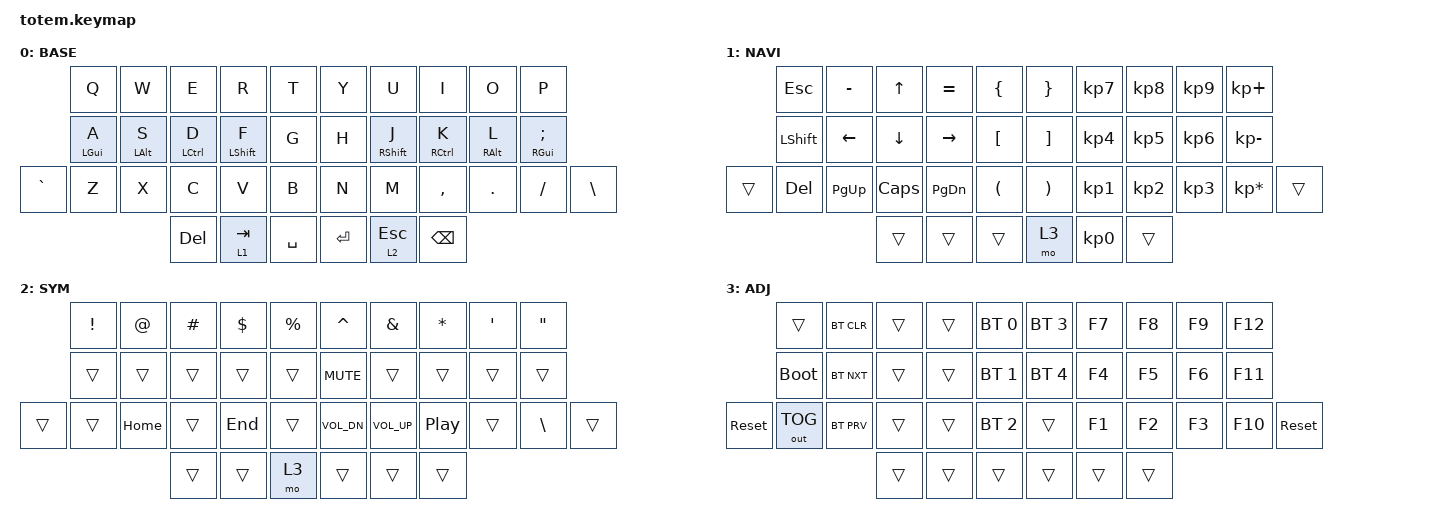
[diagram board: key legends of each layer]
//
//                                                        ▀▀▀▀▀     ▀▀▀▀▀          ▀▀█▀▀
//                                                        ▄▀▀▀▄  ▄  ▄▀▀▀▄  ▄  ▄▀▀▀▄  █  ▄▀▀▀▄
//                                                        █   █  █  █   █  █  █   █  █  █   █
//                                                         ▀▀▀   █   ▀▀▀   █   ▀▀▀   ▀   ▀▀▀
//                                                               █      ▄▄▄█▄▄▄    █   █  
//                                                               ▀      █  █  █     █▄█
//                                                             ▀▀▀▀▀    █  █  █      ▀
//                                                                      ▀  ▀  ▀
//
// ▄▄▄▄▄▄▄▄▄▄▄▄▄▄▄▄▄▄▄▄▄▄▄▄▄▄▄▄▄▄▄▄▄▄▄▄▄▄▄▄▄▄▄▄▄▄▄▄▄▄▄▄▄▄▄▄▄▄▄▄▄▄▄▄▄▄▄▄▄▄▄▄▄▄▄▄▄▄▄▄▄▄▄▄▄▄▄▄▄▄▄▄▄▄▄▄▄▄▄▄▄▄▄▄▄▄▄▄▄▄▄▄▄▄▄▄▄▄▄▄▄▄▄▄▄▄▄▄▄▄▄▄▄▄▄▄▄▄▄▄▄▄▄▄▄▄▄▄▄

#include <behaviors.dtsi>
#include <dt-bindings/zmk/bt.h>
#include <dt-bindings/zmk/keys.h>
#include <dt-bindings/zmk/outputs.h>

// Layer indices (used by `&lt <layer> <key>` and `&mo <layer>` below)
// - `&lt`: tap sends the key, hold activates the layer momentarily
// - `&mo`: momentary layer while held
#define BASE 0
#define NAV  1
#define SYM  2
#define ADJ  3
#define TVP1 4
#define TVP2 5

&mt {
    quick-tap-ms = <100>;
    global-quick-tap;
    flavor = "tap-preferred";
    tapping-term-ms = <170>;
};

/ {
    combos {
        compatible = "zmk,combos";

        combo_esc {
            timeout-ms = <50>;
            key-positions = <0 1>;
            bindings = <&kp ESC>;
        };

        hyperkey {
            bindings = <&kp LS(LA(LC(LEFT_GUI)))>;
            key-positions = <34 35>;
        };
    };

    macros {
        gif: gif {
            label = "giphy";
            compatible = "zmk,behavior-macro";
            #binding-cells = <0>;
            bindings =
                <&macro_press>,
                <&kp LSHFT>,
                <&macro_tap>,
                <&kp N2>,
                <&macro_release>,
                <&kp LSHFT>,
                <&macro_tap>,
                <&kp G &kp I &kp F>;
        };
    };

    keymap {
        compatible = "zmk,keymap";

        // ▄▄▄▄▄▄▄▄▄▄▄▄▄▄▄▄▄▄▄▄▄▄▄▄▄▄▄▄▄▄▄▄▄▄▄▄▄▄▄▄▄▄▄▄▄▄▄▄▄▄▄▄▄▄▄▄▄▄▄▄▄▄▄▄▄▄▄▄▄▄▄▄▄▄▄▄▄▄▄▄▄▄▄▄▄▄▄▄▄▄▄▄▄▄▄▄▄▄▄▄▄▄▄▄▄▄▄▄▄▄▄▄▄▄▄▄▄▄▄▄▄▄▄▄▄▄▄▄▄▄▄▄▄▄▄▄▄▄▄▄▄▄▄▄▄▄▄▄▄

        base_layer {
            // ┏━━━━━━━━━━━━━━━━━━━━━━━━━━━━━━━━━━━━━━━┓

            label = "BASE";

            // ┗━━━━━━━━━━━━━━━━━━━━━━━━━━━━━━━━━━━━━━━┛
            // Access:
            // - NAV: hold `TAB` (tap = `TAB`) via `&lt 1 TAB`
            // - SYM: hold `ESC` (tap = `ESC`) via `&lt 2 ESC`
            //             ┏━━━━━━━━━━━┳━━━━━━━━━━━┳━━━━━━━━━━━┳━━━━━━━━━━━┳━━━━━━━━━━━┓   ┏━━━━━━━━━━━┳━━━━━━━━━━━┳━━━━━━━━━━━┳━━━━━━━━━━━┳━━━━━━━━━━━┓
            //             ┃     Q     ┃     W     ┃     E     ┃     R     ┃     T     ┃   ┃     Y     ┃     U     ┃     I     ┃     O     ┃     P     ┃
            //             ┣━━━━━━━━━━━╋━━━━━━━━━━━╋━━━━━━━━━━━╋━━━━━━━━━━━╋━━━━━━━━━━━┫   ┣━━━━━━━━━━━╋━━━━━━━━━━━╋━━━━━━━━━━━╋━━━━━━━━━━━╋━━━━━━━━━━━┫
            //             ┃     A     ┃     S     ┃     D     ┃     F     ┃     G     ┃   ┃     H     ┃     J     ┃     K     ┃     L     ┃     ;     ┃
            // ┏━━━━━━━━━━━╋━━━━━━━━━━━╋━━━━━━━━━━━╋━━━━━━━━━━━╋━━━━━━━━━━━╋━━━━━━━━━━━┫   ┣━━━━━━━━━━━╋━━━━━━━━━━━╋━━━━━━━━━━━╋━━━━━━━━━━━╋━━━━━━━━━━━╋━━━━━━━━━━━┓
            // ┃     `     ┃     Z     ┃     X     ┃     C     ┃     V     ┃     B     ┃   ┃     N     ┃     M     ┃     ,     ┃     .     ┃     /     ┃     \     ┃
            // ┗━━━━━━━━━━━┻━━━━━━━━━━━┻━━━━━━━━━━━╋━━━━━━━━━━━╋━━━━━━━━━━━╋━━━━━━━━━━━┫   ┣━━━━━━━━━━━╋━━━━━━━━━━━╋━━━━━━━━━━━╋━━━━━━━━━━━┻━━━━━━━━━━━┻━━━━━━━━━━━┛
            //                                     ┃    DEL    ┃    TAB    ┃    SPC    ┃   ┃   ENTER   ┃    ESC    ┃   BSPC    ┃
            //                                     ┗━━━━━━━━━━━┻━━━━━━━━━━━┻━━━━━━━━━━━┛   ┗━━━━━━━━━━━┻━━━━━━━━━━━┻━━━━━━━━━━━┛

            bindings = <
           &kp Q       &kp W       &kp E        &kp R             &kp T        &kp Y    &kp U        &kp I        &kp O       &kp P
           &mt LGUI A  &mt LALT S  &mt LCTRL D  &mt LEFT_SHIFT F  &kp G        &kp H    &mt RSHFT J  &mt RCTRL K  &mt RALT L  &mt RGUI SEMICOLON
&kp GRAVE  &kp Z       &kp X       &kp C        &kp V             &kp B        &kp N    &kp M        &kp COMMA    &kp DOT     &kp FSLH            &kp BSLH
                                   &kp DEL      &lt 1 TAB         &kp SPACE    &kp RET  &lt 2 ESC    &kp BSPC
            >;
        };

        // ▄▄▄▄▄▄▄▄▄▄▄▄▄▄▄▄▄▄▄▄▄▄▄▄▄▄▄▄▄▄▄▄▄▄▄▄▄▄▄▄▄▄▄▄▄▄▄▄▄▄▄▄▄▄▄▄▄▄▄▄▄▄▄▄▄▄▄▄▄▄▄▄▄▄▄▄▄▄▄▄▄▄▄▄▄▄▄▄▄▄▄▄▄▄▄▄▄▄▄▄▄▄▄▄▄▄▄▄▄▄▄▄▄▄▄▄▄▄▄▄▄▄▄▄▄▄▄▄▄▄▄▄▄▄▄▄▄▄▄▄▄▄▄▄▄▄▄▄▄

        nav_layer {
            // ┏━━━━━━━━━━━━━━━━━━━━━━━━━━━━━━━━━━━━━━━┓

            label = "NAVI";

            // ┗━━━━━━━━━━━━━━━━━━━━━━━━━━━━━━━━━━━━━━━┛
            // Access: hold `TAB` on BASE (`&lt 1 TAB`)
            // ADJ: while holding NAV, hold the thumb key in the BASE `ENTER` position (`&mo 3`)
            //             ┏━━━━━━━━━━━┳━━━━━━━━━━━┳━━━━━━━━━━━┳━━━━━━━━━━━┳━━━━━━━━━━━┓   ┏━━━━━━━━━━━┳━━━━━━━━━━━┳━━━━━━━━━━━┳━━━━━━━━━━━┳━━━━━━━━━━━┓
            //             ┃    ESC    ┃     -     ┃     UP    ┃     =     ┃     [     ┃   ┃     ]     ┃     7     ┃     8     ┃     9     ┃     +     ┃
            //             ┣━━━━━━━━━━━╋━━━━━━━━━━━╋━━━━━━━━━━━╋━━━━━━━━━━━╋━━━━━━━━━━━┫   ┣━━━━━━━━━━━╋━━━━━━━━━━━╋━━━━━━━━━━━╋━━━━━━━━━━━╋━━━━━━━━━━━┫
            //             ┃   SHIFT   ┃   LEFT    ┃    DOWN   ┃   RIGHT   ┃     [     ┃   ┃     ]     ┃     4     ┃     5     ┃     6     ┃     -     ┃
            // ┏━━━━━━━━━━━╋━━━━━━━━━━━╋━━━━━━━━━━━╋━━━━━━━━━━━╋━━━━━━━━━━━╋━━━━━━━━━━━┫   ┣━━━━━━━━━━━╋━━━━━━━━━━━╋━━━━━━━━━━━╋━━━━━━━━━━━╋━━━━━━━━━━━╋━━━━━━━━━━━┓
            // ┃           ┃    DEL    ┃   P UP    ┃  C LOCK   ┃  P DOWN   ┃     (     ┃   ┃     )     ┃     1     ┃     2     ┃     3     ┃     *     ┃           ┃
            // ┗━━━━━━━━━━━┻━━━━━━━━━━━┻━━━━━━━━━━━╋━━━━━━━━━━━╋━━━━━━━━━━━╋━━━━━━━━━━━┫   ┣━━━━━━━━━━━╋━━━━━━━━━━━╋━━━━━━━━━━━╋━━━━━━━━━━━┻━━━━━━━━━━━┻━━━━━━━━━━━┛
            //                                     ┃   TRNS    ┃   TRNS    ┃   TRNS    ┃   ┃    ADJ    ┃     0     ┃   TRNS    ┃
            //                                     ┗━━━━━━━━━━━┻━━━━━━━━━━━┻━━━━━━━━━━━┛   ┗━━━━━━━━━━━┻━━━━━━━━━━━┻━━━━━━━━━━━┛

            bindings = <
        &kp ESC    &kp MINUS  &kp UP    &kp EQUAL  &kp LBRC    &kp RBRC  &kp KP_N7  &kp KP_N8  &kp KP_N9  &kp KP_PLUS
        &kp LSHFT  &kp LEFT   &kp DOWN  &kp RIGHT  &kp LBKT    &kp RBKT  &kp KP_N4  &kp KP_N5  &kp KP_N6  &kp KP_MINUS
&trans  &kp DEL    &kp PG_UP  &kp CAPS  &kp PG_DN  &kp LPAR    &kp RPAR  &kp KP_N1  &kp KP_N2  &kp KP_N3  &kp KP_MULTIPLY  &trans
                              &trans    &trans     &trans      &mo 3     &kp KP_N0  &trans
            >;
        };

        // ▄▄▄▄▄▄▄▄▄▄▄▄▄▄▄▄▄▄▄▄▄▄▄▄▄▄▄▄▄▄▄▄▄▄▄▄▄▄▄▄▄▄▄▄▄▄▄▄▄▄▄▄▄▄▄▄▄▄▄▄▄▄▄▄▄▄▄▄▄▄▄▄▄▄▄▄▄▄▄▄▄▄▄▄▄▄▄▄▄▄▄▄▄▄▄▄▄▄▄▄▄▄▄▄▄▄▄▄▄▄▄▄▄▄▄▄▄▄▄▄▄▄▄▄▄▄▄▄▄▄▄▄▄▄▄▄▄▄▄▄▄▄▄▄▄▄▄▄▄

        sim_layer {
            // ┏━━━━━━━━━━━━━━━━━━━━━━━━━━━━━━━━━━━━━━━┓

            label = "SYM";

            // ┗━━━━━━━━━━━━━━━━━━━━━━━━━━━━━━━━━━━━━━━┛
            // Access: hold `ESC` on BASE (`&lt 2 ESC`)
            // ADJ: while holding SYM, hold the thumb key in the BASE `SPACE` position (`&mo 3`)
            //      (you can release SYM and keep holding ADJ to stay on the ADJ layer)
            //             ┏━━━━━━━━━━━┳━━━━━━━━━━━┳━━━━━━━━━━━┳━━━━━━━━━━━┳━━━━━━━━━━━┓   ┏━━━━━━━━━━━┳━━━━━━━━━━━┳━━━━━━━━━━━┳━━━━━━━━━━━┳━━━━━━━━━━━┓
            //             ┃     !     ┃     @     ┃     #     ┃     $     ┃     %     ┃   ┃     ˆ     ┃     &     ┃     *     ┃     '     ┃     "     ┃
            //             ┣━━━━━━━━━━━╋━━━━━━━━━━━╋━━━━━━━━━━━╋━━━━━━━━━━━╋━━━━━━━━━━━┫   ┣━━━━━━━━━━━╋━━━━━━━━━━━╋━━━━━━━━━━━╋━━━━━━━━━━━╋━━━━━━━━━━━┫
            //             ┃           ┃           ┃           ┃           ┃           ┃   ┃   MUTE    ┃           ┃           ┃           ┃           ┃
            // ┏━━━━━━━━━━━╋━━━━━━━━━━━╋━━━━━━━━━━━╋━━━━━━━━━━━╋━━━━━━━━━━━╋━━━━━━━━━━━┫   ┣━━━━━━━━━━━╋━━━━━━━━━━━╋━━━━━━━━━━━╋━━━━━━━━━━━╋━━━━━━━━━━━╋━━━━━━━━━━━┓
            // ┃           ┃           ┃   HOME    ┃           ┃    END    ┃           ┃   ┃   VOL-    ┃   VOL+    ┃PLAY/PAUSE ┃           ┃     \     ┃           ┃
            // ┗━━━━━━━━━━━┻━━━━━━━━━━━┻━━━━━━━━━━━╋━━━━━━━━━━━╋━━━━━━━━━━━╋━━━━━━━━━━━┫   ┣━━━━━━━━━━━╋━━━━━━━━━━━╋━━━━━━━━━━━╋━━━━━━━━━━━┻━━━━━━━━━━━┻━━━━━━━━━━━┛
            //                                     ┃   TRNS    ┃   TRNS    ┃    ADJ    ┃   ┃   TRNS    ┃   TRNS    ┃   TRNS    ┃
            //                                     ┗━━━━━━━━━━━┻━━━━━━━━━━━┻━━━━━━━━━━━┛   ┗━━━━━━━━━━━┻━━━━━━━━━━━┻━━━━━━━━━━━┛

            bindings = <
        &kp EXCL  &kp AT    &kp HASH  &kp DLLR  &kp PRCNT    &kp CARET     &kp AMPS      &kp ASTERISK  &kp SQT  &kp DQT
        &trans    &trans    &trans    &trans    &trans       &kp C_MUTE    &trans        &trans        &trans   &trans
&trans  &trans    &kp HOME  &trans    &kp END   &trans       &kp C_VOL_DN  &kp C_VOL_UP  &kp C_PP      &trans   &kp BSLH  &trans
                            &trans    &trans    &mo 3        &trans        &trans        &trans
            >;
        };

        // ▄▄▄▄▄▄▄▄▄▄▄▄▄▄▄▄▄▄▄▄▄▄▄▄▄▄▄▄▄▄▄▄▄▄▄▄▄▄▄▄▄▄▄▄▄▄▄▄▄▄▄▄▄▄▄▄▄▄▄▄▄▄▄▄▄▄▄▄▄▄▄▄▄▄▄▄▄▄▄▄▄▄▄▄▄▄▄▄▄▄▄▄▄▄▄▄▄▄▄▄▄▄▄▄▄▄▄▄▄▄▄▄▄▄▄▄▄▄▄▄▄▄▄▄▄▄▄▄▄▄▄▄▄▄▄▄▄▄▄▄▄▄▄▄▄▄▄▄▄

        adjust_layer {
            // ┏━━━━━━━━━━━━━━━━━━━━━━━━━━━━━━━━━━━━━━━┓

            label = "ADJ";

            // ┗━━━━━━━━━━━━━━━━━━━━━━━━━━━━━━━━━━━━━━━┛
            // Access: hold `&mo 3` from NAV or SYM (momentary; releasing it returns you to the previous layer)
            //             ┏━━━━━━━━━━━┳━━━━━━━━━━━┳━━━━━━━━━━━┳━━━━━━━━━━━┳━━━━━━━━━━━┓   ┏━━━━━━━━━━━┳━━━━━━━━━━━┳━━━━━━━━━━━┳━━━━━━━━━━━┳━━━━━━━━━━━┓
            //             ┃           ┃ BT CLEAR  ┃           ┃           ┃    BT0    ┃   ┃    BT3    ┃    F7     ┃    F8     ┃    F9     ┃    F12    ┃
            //             ┣━━━━━━━━━━━╋━━━━━━━━━━━╋━━━━━━━━━━━╋━━━━━━━━━━━╋━━━━━━━━━━━┫   ┣━━━━━━━━━━━╋━━━━━━━━━━━╋━━━━━━━━━━━╋━━━━━━━━━━━╋━━━━━━━━━━━┫
            //             ┃ BOOTLOAD  ┃ BT NEXT   ┃           ┃           ┃    BT1    ┃   ┃    BT4    ┃    F4     ┃    F5     ┃    F6     ┃    F11    ┃
            // ┏━━━━━━━━━━━╋━━━━━━━━━━━╋━━━━━━━━━━━╋━━━━━━━━━━━╋━━━━━━━━━━━╋━━━━━━━━━━━┫   ┣━━━━━━━━━━━╋━━━━━━━━━━━╋━━━━━━━━━━━╋━━━━━━━━━━━╋━━━━━━━━━━━╋━━━━━━━━━━━┓
            // ┃   RESET   ┃  OUT TOG  ┃ BT PREV   ┃           ┃           ┃    BT2    ┃   ┃           ┃    F1     ┃    F2     ┃    F3     ┃    F10    ┃   RESET   ┃
            // ┗━━━━━━━━━━━┻━━━━━━━━━━━┻━━━━━━━━━━━╋━━━━━━━━━━━╋━━━━━━━━━━━╋━━━━━━━━━━━┫   ┣━━━━━━━━━━━╋━━━━━━━━━━━╋━━━━━━━━━━━╋━━━━━━━━━━━┻━━━━━━━━━━━┻━━━━━━━━━━━┛
            //                                     ┃           ┃           ┃           ┃   ┃           ┃           ┃           ┃
            //                                     ┗━━━━━━━━━━━┻━━━━━━━━━━━┻━━━━━━━━━━━┛   ┗━━━━━━━━━━━┻━━━━━━━━━━━┻━━━━━━━━━━━┛

            bindings = <
            &trans        &bt BT_CLR  &trans  &trans  &bt BT_SEL 0    &bt BT_SEL 3  &kp F7  &kp F8  &kp F9  &kp F12
            &bootloader   &bt BT_NXT  &trans  &trans  &bt BT_SEL 1    &bt BT_SEL 4  &kp F4  &kp F5  &kp F6  &kp F11
&sys_reset  &out OUT_TOG  &bt BT_PRV  &trans  &trans  &bt BT_SEL 2    &trans        &kp F1  &kp F2  &kp F3  &kp F10  &sys_reset
                                      &trans  &trans  &trans          &trans        &trans  &trans
            >;
        };

        // ▄▄▄▄▄▄▄▄▄▄▄▄▄▄▄▄▄▄▄▄▄▄▄▄▄▄▄▄▄▄▄▄▄▄▄▄▄▄▄▄▄▄▄▄▄▄▄▄▄▄▄▄▄▄▄▄▄▄▄▄▄▄▄▄▄▄▄▄▄▄▄▄▄▄▄▄▄▄▄▄▄▄▄▄▄▄▄▄▄▄▄▄▄▄▄▄▄▄▄▄▄▄▄▄▄▄▄▄▄▄▄▄▄▄▄▄▄▄▄▄▄▄▄▄▄▄▄▄▄▄▄▄▄▄▄▄▄▄▄▄▄▄▄▄▄▄▄▄▄
        // ▄▄▄▄▄▄▄▄▄▄▄▄▄▄▄▄▄▄▄▄▄▄▄▄▄▄▄▄▄▄▄▄▄▄▄▄▄▄▄▄▄▄▄▄▄▄▄▄▄▄▄▄▄▄▄▄▄▄▄▄▄▄▄▄▄▄▄▄▄▄▄▄▄▄▄▄▄▄▄▄▄▄▄▄▄▄▄▄▄▄▄▄▄▄▄▄▄▄▄▄▄▄▄▄▄▄▄▄▄▄▄▄▄▄▄▄▄▄▄▄▄▄▄▄▄▄▄▄▄▄▄▄▄▄▄▄▄▄▄▄▄▄▄▄▄▄▄▄▄
    };
};
